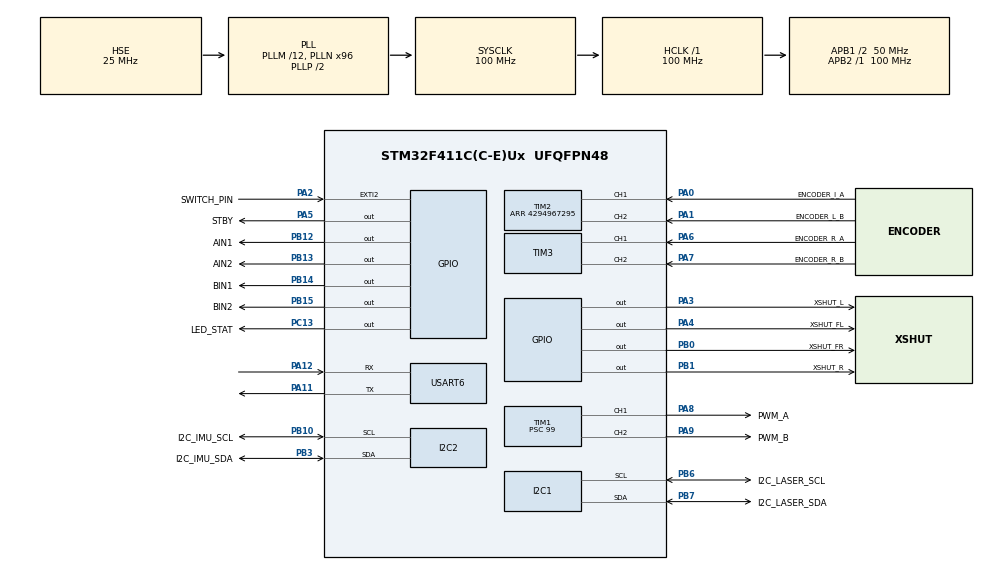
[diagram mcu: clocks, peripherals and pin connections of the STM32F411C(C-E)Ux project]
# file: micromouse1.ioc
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<<<<<<< HEAD
I2C2.I2C_Mode=I2C_Fast
Mcu.Family=STM32F4
Mcu.Name=STM32F411C(C-E)Ux
Mcu.Package=UFQFPN48
NVIC.PriorityGroup=NVIC_PRIORITYGROUP_4
PA0-WKUP.GPIO_Label=ENCODER_l_A
PA0-WKUP.Signal=S_TIM2_CH1_ETR
PA1.GPIO_Label=ENCODER_L_B
PA1.Signal=S_TIM2_CH2
PA11.Mode=Asynchronous
PA11.Signal=USART6_TX
PA12.Mode=Asynchronous
PA12.Signal=USART6_RX
PA13.Mode=Serial_Wire
PA13.Signal=SYS_JTMS-SWDIO
PA14.Mode=Serial_Wire
PA14.Signal=SYS_JTCK-SWCLK
PA2.GPIO_Label=SWITCH_PIN
PA2.Signal=GPXTI2
PA3.GPIO_Label=XSHUT_L
PA3.Signal=GPIO_Output
PA4.GPIO_Label=XSHUT_FL
PA4.Signal=GPIO_Output
PA5.GPIO_Label=STBY
PA5.Signal=GPIO_Output
PA6.GPIO_Label=ENCODER_R_A
PA6.Signal=S_TIM3_CH1
PA7.GPIO_Label=ENCODER_R_B
PA7.Signal=S_TIM3_CH2
PA8.GPIO_Label=PWM_A
PA8.Signal=S_TIM1_CH1
PA9.GPIO_Label=PWM_B
PA9.Signal=S_TIM1_CH2
PB0.GPIO_Label=XSHUT_FR
PB0.Signal=GPIO_Output
PB1.GPIO_Label=XSHUT_R
PB1.Signal=GPIO_Output
PB10.GPIO_Label=I2C_IMU_SCL
PB10.Mode=I2C
PB10.Signal=I2C2_SCL
PB12.GPIO_Label=AIN1
PB12.Signal=GPIO_Output
PB13.GPIO_Label=AIN2
PB13.Signal=GPIO_Output
PB14.GPIO_Label=BIN1
PB14.Signal=GPIO_Output
PB15.GPIO_Label=BIN2
PB15.Signal=GPIO_Output
PB3.GPIO_Label=I2C_IMU_SDA
PB3.Mode=I2C
PB3.Signal=I2C2_SDA
PB6.GPIO_Label=I2C_LASER_SCL
PB6.Mode=I2C
PB6.Signal=I2C1_SCL
PB7.GPIO_Label=I2C_LASER_SDA
PB7.Mode=I2C
PB7.Signal=I2C1_SDA
PC13-ANTI_TAMP.GPIO_Label=LED_STAT
PC13-ANTI_TAMP.Signal=GPIO_Output
PH0\ -\ OSC_IN.Mode=HSE-External-Oscillator
PH0\ -\ OSC_IN.Signal=RCC_OSC_IN
PH1\ -\ OSC_OUT.Mode=HSE-External-Oscillator
PH1\ -\ OSC_OUT.Signal=RCC_OSC_OUT
ProjectManager.HeapSize=0x200
ProjectManager.StackSize=0x400
ProjectManager.TargetToolchain=MDK-ARM V5.32
RCC.48MHZClocksFreq_Value=50000000
RCC.AHBFreq_Value=100000000
RCC.APB1CLKDivider=RCC_HCLK_DIV2
RCC.APB1Freq_Value=50000000
RCC.APB1TimFreq_Value=100000000
RCC.APB2Freq_Value=100000000
RCC.APB2TimFreq_Value=100000000
RCC.CortexFreq_Value=100000000
RCC.HCLKFreq_Value=100000000
RCC.HSE_VALUE=25000000
RCC.HSI_VALUE=16000000
RCC.LSE_VALUE=32768
RCC.PLLM=12
RCC.PLLN=96
RCC.PLLSourceVirtual=RCC_PLLSOURCE_HSE
RCC.SYSCLKFreq_VALUE=100000000
RCC.SYSCLKSource=RCC_SYSCLKSOURCE_PLLCLK
RCC.VCOOutputFreq_Value=200000000
SH.S_TIM1_CH1.0=TIM1_CH1,PWM Generation1 CH1
SH.S_TIM1_CH2.0=TIM1_CH2,PWM Generation2 CH2
SH.S_TIM2_CH1_ETR.0=TIM2_CH1,Encoder_Interface
SH.S_TIM2_CH2.0=TIM2_CH2,Encoder_Interface
SH.S_TIM3_CH1.0=TIM3_CH1,Encoder_Interface
SH.S_TIM3_CH2.0=TIM3_CH2,Encoder_Interface
TIM1.Channel-PWM\ Generation1\ CH1=TIM_CHANNEL_1
TIM1.Channel-PWM\ Generation2\ CH2=TIM_CHANNEL_2
TIM1.Period=999
TIM1.Prescaler=99
TIM2.EncoderMode=TIM_ENCODERMODE_TI12
TIM2.Period=4294967295
TIM3.EncoderMode=TIM_ENCODERMODE_TI12
TIM5.Prescaler=99
USART6.VirtualMode=VM_ASYNC
VP_TIM1_VS_ClockSourceINT.Mode=Internal
VP_TIM5_VS_ClockSourceINT.Mode=Internal
board=custom
=======
I2C2.I2C_Mode=I2C_Fast
Mcu.Family=STM32F4
Mcu.Name=STM32F411C(C-E)Ux
Mcu.Package=UFQFPN48
NVIC.PriorityGroup=NVIC_PRIORITYGROUP_4
PA0-WKUP.GPIO_Label=ENCODER_l_A
PA0-WKUP.Signal=S_TIM2_CH1_ETR
PA1.GPIO_Label=ENCODER_L_B
PA1.Signal=S_TIM2_CH2
PA11.Mode=Asynchronous
PA11.Signal=USART6_TX
PA12.Mode=Asynchronous
PA12.Signal=USART6_RX
PA13.Mode=Serial_Wire
PA13.Signal=SYS_JTMS-SWDIO
PA14.Mode=Serial_Wire
PA14.Signal=SYS_JTCK-SWCLK
PA2.GPIO_Label=SWITCH_PIN
PA2.Signal=GPXTI2
PA3.GPIO_Label=XSHUT_L
PA3.Signal=GPIO_Output
PA4.GPIO_Label=XSHUT_FL
PA4.Signal=GPIO_Output
PA5.GPIO_Label=STBY
PA5.Signal=GPIO_Output
PA6.GPIO_Label=ENCODER_R_A
PA6.Signal=S_TIM3_CH1
PA7.GPIO_Label=ENCODER_R_B
PA7.Signal=S_TIM3_CH2
PA8.GPIO_Label=PWM_A
PA8.Signal=S_TIM1_CH1
PA9.GPIO_Label=PWM_B
PA9.Signal=S_TIM1_CH2
PB0.GPIO_Label=XSHUT_FR
PB0.Signal=GPIO_Output
PB1.GPIO_Label=XSHUT_R
PB1.Signal=GPIO_Output
PB10.GPIO_Label=I2C_IMU_SCL
PB10.Mode=I2C
PB10.Signal=I2C2_SCL
PB12.GPIO_Label=AIN1
PB12.Signal=GPIO_Output
PB13.GPIO_Label=AIN2
PB13.Signal=GPIO_Output
PB14.GPIO_Label=BIN1
PB14.Signal=GPIO_Output
PB15.GPIO_Label=BIN2
PB15.Signal=GPIO_Output
PB3.GPIO_Label=I2C_IMU_SDA
PB3.Mode=I2C
PB3.Signal=I2C2_SDA
PB6.GPIO_Label=I2C_LASER_SCL
PB6.Mode=I2C
PB6.Signal=I2C1_SCL
PB7.GPIO_Label=I2C_LASER_SDA
PB7.Mode=I2C
PB7.Signal=I2C1_SDA
PC13-ANTI_TAMP.GPIO_Label=LED_STAT
PC13-ANTI_TAMP.Signal=GPIO_Output
PH0\ -\ OSC_IN.Mode=HSE-External-Oscillator
PH0\ -\ OSC_IN.Signal=RCC_OSC_IN
PH1\ -\ OSC_OUT.Mode=HSE-External-Oscillator
PH1\ -\ OSC_OUT.Signal=RCC_OSC_OUT
ProjectManager.HeapSize=0x200
ProjectManager.StackSize=0x400
ProjectManager.TargetToolchain=MDK-ARM V5.32
RCC.48MHZClocksFreq_Value=50000000
RCC.AHBFreq_Value=100000000
RCC.APB1CLKDivider=RCC_HCLK_DIV2
RCC.APB1Freq_Value=50000000
RCC.APB1TimFreq_Value=100000000
RCC.APB2Freq_Value=100000000
RCC.APB2TimFreq_Value=100000000
RCC.CortexFreq_Value=100000000
RCC.HCLKFreq_Value=100000000
RCC.HSE_VALUE=25000000
RCC.HSI_VALUE=16000000
RCC.LSE_VALUE=32768
RCC.PLLM=12
RCC.PLLN=96
RCC.PLLSourceVirtual=RCC_PLLSOURCE_HSE
RCC.SYSCLKFreq_VALUE=100000000
RCC.SYSCLKSource=RCC_SYSCLKSOURCE_PLLCLK
RCC.VCOOutputFreq_Value=200000000
SH.S_TIM1_CH1.0=TIM1_CH1,PWM Generation1 CH1
SH.S_TIM1_CH2.0=TIM1_CH2,PWM Generation2 CH2
SH.S_TIM2_CH1_ETR.0=TIM2_CH1,Encoder_Interface
SH.S_TIM2_CH2.0=TIM2_CH2,Encoder_Interface
SH.S_TIM3_CH1.0=TIM3_CH1,Encoder_Interface
SH.S_TIM3_CH2.0=TIM3_CH2,Encoder_Interface
TIM1.Channel-PWM\ Generation1\ CH1=TIM_CHANNEL_1
TIM1.Channel-PWM\ Generation2\ CH2=TIM_CHANNEL_2
TIM1.Period=999
TIM1.Prescaler=99
TIM2.EncoderMode=TIM_ENCODERMODE_TI12
TIM2.Period=4294967295
TIM3.EncoderMode=TIM_ENCODERMODE_TI12
TIM5.Prescaler=99
USART6.VirtualMode=VM_ASYNC
VP_TIM1_VS_ClockSourceINT.Mode=Internal
VP_TIM5_VS_ClockSourceINT.Mode=Internal
board=custom
>>>>>>> e69f297a8bac1bce66a014ab7c4647a4cd0e4806

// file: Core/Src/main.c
/* USER CODE BEGIN Header */
/**
  ******************************************************************************
  * @file           : main.c
  * @brief          : Main program body
  ******************************************************************************
  * @attention
  *
  * Copyright (c) 2026 STMicroelectronics.
  * All rights reserved.
  *
  * This software is licensed under terms that can be found in the LICENSE file
  * in the root directory of this software component.
  * If no LICENSE file comes with this software, it is provided AS-IS.
  *
  ******************************************************************************
  */
/* USER CODE END Header */
#include "main.h"

/* USER CODE BEGIN Includes */
#include "tb6612fng.h"
#include "encoder.h"
#include "bt_debug.h"
#include "vl53l0x.h"
#include "mpu6500.h"
#include "sensor_fusion.h"
#include "motion_controller.h"
#include "pid.h"
#include "flash.h"
#include "maze_solver.h"
#include <stdio.h>

/* USER CODE END Includes */

/* USER CODE BEGIN PTD */
typedef enum {
    SYS_STATE_IDLE,
    SYS_STATE_EXPLORE,
    SYS_STATE_FAST_RUN,
    SYS_STATE_FINISHED,
    SYS_STATE_ERROR
} SystemState;
/* USER CODE END PTD */

/* USER CODE BEGIN PD */
#define CONTROL_LOOP_PERIOD_MS 10 // Chu ki vong lap 10ms (100Hz)
#define DEBOUNCE_DELAY_MS      200 // Thoi gian chong doi nut nhan
/* USER CODE END PD */

I2C_HandleTypeDef hi2c1;
I2C_HandleTypeDef hi2c2;

TIM_HandleTypeDef htim1;
TIM_HandleTypeDef htim2;
TIM_HandleTypeDef htim3;
TIM_HandleTypeDef htim5;

UART_HandleTypeDef huart6;

/* USER CODE BEGIN PV */
static SystemState current_sys_state = SYS_STATE_IDLE;
static uint32_t last_tick = 0;
static uint32_t last_button_tick = 0;

//Them 2 bien luu du lieu cam bien cho Sensor Fusion
static VL53L0X_Data vl_sensor_data;
static MPU6500_Data mpu_sensor_data;

/* USER CODE END PV */

void SystemClock_Config(void);
static void MX_GPIO_Init(void);
static void MX_I2C1_Init(void);
static void MX_I2C2_Init(void);
static void MX_TIM1_Init(void);
static void MX_TIM2_Init(void);
static void MX_TIM3_Init(void);
static void MX_USART6_UART_Init(void);
static void MX_TIM5_Init(void);
/* USER CODE BEGIN PFP */
void Process_FSM(float dt);
uint8_t Is_Button_Pressed(void);
/* USER CODE END PFP */

int main(void)
{

  /* MCU Configuration--------------------------------------------------------*/

  /* Reset of all peripherals, Initializes the Flash interface and the Systick. */
  HAL_Init();

  /* Configure the system clock */
  SystemClock_Config();

  /* Initialize all configured peripherals */
  MX_GPIO_Init();
  MX_I2C1_Init();
  MX_I2C2_Init();
  MX_TIM1_Init();
  MX_TIM2_Init();
  MX_TIM3_Init();
  MX_USART6_UART_Init();
  MX_TIM5_Init();
  /* USER CODE BEGIN 2 */
	// kich hoat motor driver TB6612 (chuyen chan SSTBY tu RESET sang SET)
	HAL_GPIO_WritePin(STBY_GPIO_Port, STBY_Pin, GPIO_PIN_SET);
  // 1. Khoi tao cac module phan cung
	BT_Init_Rx(&huart6); // Khoi tao Bluetooth UART & bat ngat nhan du lieu
	Encoder_Init(&htim2, &htim3);
	TB6612_Init(&htim1);
	LOG_SYS("--- MICROMOUSE STARTUP ---\r\n");
	// 2. Khoi tao cam bien
	if (VL53L0X_Init_All(&hi2c1) != HAL_OK) {
      LOG_SYS("[ERROR] VL53L0X Init Failed!\r\n");
  } else {
      LOG_SYS("[OK] VL53L0X Initialized.\r\n");
  }

  if (MPU6500_Init(&hi2c2) != HAL_OK) {
      LOG_SYS("[ERROR] MPU6500 Init Failed!\r\n");
  } else {
      LOG_SYS("[OK] MPU6500 Initialized.\r\n");
  }
	//3. Khoi tao thuat toan & bo dieu khien
	SensorFusion_Init();
  Motion_Init();
  Maze_Init();

  LOG_SYS("System Ready. Press Switch to Start Exploration.\r\n");
  last_tick = HAL_GetTick();
  /* USER CODE END 2 */

  /* Infinite loop */
  /* USER CODE BEGIN WHILE */
  while (1)
  {
		uint32_t current_tick = HAL_GetTick();

		//Dinh thoi chu ky 10ms (100Hz) cho PID va Sensor Fusion
		if (current_tick - last_tick >= CONTROL_LOOP_PERIOD_MS) {
			float dt = (current_tick - last_tick) / 1000.0f;
        last_tick = current_tick;

			//1. Khai bao bien va doc khoang cach tu Encoder
			float dist_l = 0.0f;
			float dist_r = 0.0f;
			Encoder_GetDistanceMM(&dist_l, &dist_r);
			//2. Doc du lieu tu cam bien V53L0X va MPU6500
			VL53L0X_Read_All(&vl_sensor_data);
      MPU6500_Read_GyroZ(dt);

			//Copy du lieu Gyro moi nhat tu driver vao mpu_sensor_data
			MPU6500_Data *mpu_ptr = MPU6500_GetData();
      if (mpu_ptr != NULL) {
          mpu_sensor_data = *mpu_ptr;
      }

			// 3.cap nhat cam bien & bo dieu khien dong co
			SensorFusion_Update(&vl_sensor_data, &mpu_sensor_data, dist_l, dist_r, dt);
      Motion_Update(dt);

			// 4.Chay may trang thai he thong
			Process_FSM(dt);
		}
    /* USER CODE END WHILE */

  }
}

void SystemClock_Config(void)
{
  RCC_OscInitTypeDef RCC_OscInitStruct = {0};
  RCC_ClkInitTypeDef RCC_ClkInitStruct = {0};

  /** Configure the main internal regulator output voltage
  */
  __HAL_RCC_PWR_CLK_ENABLE();
  __HAL_PWR_VOLTAGESCALING_CONFIG(PWR_REGULATOR_VOLTAGE_SCALE1);

  /** Initializes the RCC Oscillators according to the specified parameters
  * in the RCC_OscInitTypeDef structure.
  */
  RCC_OscInitStruct.OscillatorType = RCC_OSCILLATORTYPE_HSE;
  RCC_OscInitStruct.HSEState = RCC_HSE_ON;
  RCC_OscInitStruct.PLL.PLLState = RCC_PLL_ON;
  RCC_OscInitStruct.PLL.PLLSource = RCC_PLLSOURCE_HSE;
  RCC_OscInitStruct.PLL.PLLM = 12;
  RCC_OscInitStruct.PLL.PLLN = 96;
  RCC_OscInitStruct.PLL.PLLP = RCC_PLLP_DIV2;
  RCC_OscInitStruct.PLL.PLLQ = 4;
  if (HAL_RCC_OscConfig(&RCC_OscInitStruct) != HAL_OK)
  {
    Error_Handler();
  }

  /** Initializes the CPU, AHB and APB buses clocks
  */
  RCC_ClkInitStruct.ClockType = RCC_CLOCKTYPE_HCLK|RCC_CLOCKTYPE_SYSCLK
                              |RCC_CLOCKTYPE_PCLK1|RCC_CLOCKTYPE_PCLK2;
  RCC_ClkInitStruct.SYSCLKSource = RCC_SYSCLKSOURCE_PLLCLK;
  RCC_ClkInitStruct.AHBCLKDivider = RCC_SYSCLK_DIV1;
  RCC_ClkInitStruct.APB1CLKDivider = RCC_HCLK_DIV2;
  RCC_ClkInitStruct.APB2CLKDivider = RCC_HCLK_DIV1;

  if (HAL_RCC_ClockConfig(&RCC_ClkInitStruct, FLASH_LATENCY_3) != HAL_OK)
  {
    Error_Handler();
  }
}

static void MX_I2C1_Init(void)
{

  hi2c1.Instance = I2C1;
  hi2c1.Init.ClockSpeed = 400000;
  hi2c1.Init.DutyCycle = I2C_DUTYCYCLE_2;
  hi2c1.Init.OwnAddress1 = 0;
  hi2c1.Init.AddressingMode = I2C_ADDRESSINGMODE_7BIT;
  hi2c1.Init.DualAddressMode = I2C_DUALADDRESS_DISABLE;
  hi2c1.Init.OwnAddress2 = 0;
  hi2c1.Init.GeneralCallMode = I2C_GENERALCALL_DISABLE;
  hi2c1.Init.NoStretchMode = I2C_NOSTRETCH_DISABLE;
  if (HAL_I2C_Init(&hi2c1) != HAL_OK)
  {
    Error_Handler();
  }

}

static void MX_I2C2_Init(void)
{

  hi2c2.Instance = I2C2;
  hi2c2.Init.ClockSpeed = 400000;
  hi2c2.Init.DutyCycle = I2C_DUTYCYCLE_2;
  hi2c2.Init.OwnAddress1 = 0;
  hi2c2.Init.AddressingMode = I2C_ADDRESSINGMODE_7BIT;
  hi2c2.Init.DualAddressMode = I2C_DUALADDRESS_DISABLE;
  hi2c2.Init.OwnAddress2 = 0;
  hi2c2.Init.GeneralCallMode = I2C_GENERALCALL_DISABLE;
  hi2c2.Init.NoStretchMode = I2C_NOSTRETCH_DISABLE;
  if (HAL_I2C_Init(&hi2c2) != HAL_OK)
  {
    Error_Handler();
  }

}

static void MX_TIM1_Init(void)
{

  TIM_ClockConfigTypeDef sClockSourceConfig = {0};
  TIM_MasterConfigTypeDef sMasterConfig = {0};
  TIM_OC_InitTypeDef sConfigOC = {0};
  TIM_BreakDeadTimeConfigTypeDef sBreakDeadTimeConfig = {0};

  htim1.Instance = TIM1;
  htim1.Init.Prescaler = 99;
  htim1.Init.CounterMode = TIM_COUNTERMODE_UP;
  htim1.Init.Period = 999;
  htim1.Init.ClockDivision = TIM_CLOCKDIVISION_DIV1;
  htim1.Init.RepetitionCounter = 0;
  htim1.Init.AutoReloadPreload = TIM_AUTORELOAD_PRELOAD_DISABLE;
  if (HAL_TIM_Base_Init(&htim1) != HAL_OK)
  {
    Error_Handler();
  }
  sClockSourceConfig.ClockSource = TIM_CLOCKSOURCE_INTERNAL;
  if (HAL_TIM_ConfigClockSource(&htim1, &sClockSourceConfig) != HAL_OK)
  {
    Error_Handler();
  }
  if (HAL_TIM_PWM_Init(&htim1) != HAL_OK)
  {
    Error_Handler();
  }
  sMasterConfig.MasterOutputTrigger = TIM_TRGO_RESET;
  sMasterConfig.MasterSlaveMode = TIM_MASTERSLAVEMODE_DISABLE;
  if (HAL_TIMEx_MasterConfigSynchronization(&htim1, &sMasterConfig) != HAL_OK)
  {
    Error_Handler();
  }
  sConfigOC.OCMode = TIM_OCMODE_PWM1;
  sConfigOC.Pulse = 0;
  sConfigOC.OCPolarity = TIM_OCPOLARITY_HIGH;
  sConfigOC.OCNPolarity = TIM_OCNPOLARITY_HIGH;
  sConfigOC.OCFastMode = TIM_OCFAST_DISABLE;
  sConfigOC.OCIdleState = TIM_OCIDLESTATE_RESET;
  sConfigOC.OCNIdleState = TIM_OCNIDLESTATE_RESET;
  if (HAL_TIM_PWM_ConfigChannel(&htim1, &sConfigOC, TIM_CHANNEL_1) != HAL_OK)
  {
    Error_Handler();
  }
  if (HAL_TIM_PWM_ConfigChannel(&htim1, &sConfigOC, TIM_CHANNEL_2) != HAL_OK)
  {
    Error_Handler();
  }
  sBreakDeadTimeConfig.OffStateRunMode = TIM_OSSR_DISABLE;
  sBreakDeadTimeConfig.OffStateIDLEMode = TIM_OSSI_DISABLE;
  sBreakDeadTimeConfig.LockLevel = TIM_LOCKLEVEL_OFF;
  sBreakDeadTimeConfig.DeadTime = 0;
  sBreakDeadTimeConfig.BreakState = TIM_BREAK_DISABLE;
  sBreakDeadTimeConfig.BreakPolarity = TIM_BREAKPOLARITY_HIGH;
  sBreakDeadTimeConfig.AutomaticOutput = TIM_AUTOMATICOUTPUT_DISABLE;
  if (HAL_TIMEx_ConfigBreakDeadTime(&htim1, &sBreakDeadTimeConfig) != HAL_OK)
  {
    Error_Handler();
  }
  HAL_TIM_MspPostInit(&htim1);

}

static void MX_TIM2_Init(void)
{

  TIM_Encoder_InitTypeDef sConfig = {0};
  TIM_MasterConfigTypeDef sMasterConfig = {0};

  htim2.Instance = TIM2;
  htim2.Init.Prescaler = 0;
  htim2.Init.CounterMode = TIM_COUNTERMODE_UP;
  htim2.Init.Period = 4294967295;
  htim2.Init.ClockDivision = TIM_CLOCKDIVISION_DIV1;
  htim2.Init.AutoReloadPreload = TIM_AUTORELOAD_PRELOAD_DISABLE;
  sConfig.EncoderMode = TIM_ENCODERMODE_TI12;
  sConfig.IC1Polarity = TIM_ICPOLARITY_RISING;
  sConfig.IC1Selection = TIM_ICSELECTION_DIRECTTI;
  sConfig.IC1Prescaler = TIM_ICPSC_DIV1;
  sConfig.IC1Filter = 0;
  sConfig.IC2Polarity = TIM_ICPOLARITY_RISING;
  sConfig.IC2Selection = TIM_ICSELECTION_DIRECTTI;
  sConfig.IC2Prescaler = TIM_ICPSC_DIV1;
  sConfig.IC2Filter = 0;
  if (HAL_TIM_Encoder_Init(&htim2, &sConfig) != HAL_OK)
  {
    Error_Handler();
  }
  sMasterConfig.MasterOutputTrigger = TIM_TRGO_RESET;
  sMasterConfig.MasterSlaveMode = TIM_MASTERSLAVEMODE_DISABLE;
  if (HAL_TIMEx_MasterConfigSynchronization(&htim2, &sMasterConfig) != HAL_OK)
  {
    Error_Handler();
  }

}

static void MX_TIM3_Init(void)
{

  TIM_Encoder_InitTypeDef sConfig = {0};
  TIM_MasterConfigTypeDef sMasterConfig = {0};

  htim3.Instance = TIM3;
  htim3.Init.Prescaler = 0;
  htim3.Init.CounterMode = TIM_COUNTERMODE_UP;
  htim3.Init.Period = 65535;
  htim3.Init.ClockDivision = TIM_CLOCKDIVISION_DIV1;
  htim3.Init.AutoReloadPreload = TIM_AUTORELOAD_PRELOAD_DISABLE;
  sConfig.EncoderMode = TIM_ENCODERMODE_TI12;
  sConfig.IC1Polarity = TIM_ICPOLARITY_RISING;
  sConfig.IC1Selection = TIM_ICSELECTION_DIRECTTI;
  sConfig.IC1Prescaler = TIM_ICPSC_DIV1;
  sConfig.IC1Filter = 0;
  sConfig.IC2Polarity = TIM_ICPOLARITY_RISING;
  sConfig.IC2Selection = TIM_ICSELECTION_DIRECTTI;
  sConfig.IC2Prescaler = TIM_ICPSC_DIV1;
  sConfig.IC2Filter = 0;
  if (HAL_TIM_Encoder_Init(&htim3, &sConfig) != HAL_OK)
  {
    Error_Handler();
  }
  sMasterConfig.MasterOutputTrigger = TIM_TRGO_RESET;
  sMasterConfig.MasterSlaveMode = TIM_MASTERSLAVEMODE_DISABLE;
  if (HAL_TIMEx_MasterConfigSynchronization(&htim3, &sMasterConfig) != HAL_OK)
  {
    Error_Handler();
  }

}

static void MX_TIM5_Init(void)
{

  TIM_ClockConfigTypeDef sClockSourceConfig = {0};
  TIM_MasterConfigTypeDef sMasterConfig = {0};

  htim5.Instance = TIM5;
  htim5.Init.Prescaler = 99;
  htim5.Init.CounterMode = TIM_COUNTERMODE_UP;
  htim5.Init.Period = 4294967295;
  htim5.Init.ClockDivision = TIM_CLOCKDIVISION_DIV1;
  htim5.Init.AutoReloadPreload = TIM_AUTORELOAD_PRELOAD_DISABLE;
  if (HAL_TIM_Base_Init(&htim5) != HAL_OK)
  {
    Error_Handler();
  }
  sClockSourceConfig.ClockSource = TIM_CLOCKSOURCE_INTERNAL;
  if (HAL_TIM_ConfigClockSource(&htim5, &sClockSourceConfig) != HAL_OK)
  {
    Error_Handler();
  }
  sMasterConfig.MasterOutputTrigger = TIM_TRGO_RESET;
  sMasterConfig.MasterSlaveMode = TIM_MASTERSLAVEMODE_DISABLE;
  if (HAL_TIMEx_MasterConfigSynchronization(&htim5, &sMasterConfig) != HAL_OK)
  {
    Error_Handler();
  }

}

static void MX_USART6_UART_Init(void)
{

  huart6.Instance = USART6;
  huart6.Init.BaudRate = 115200;
  huart6.Init.WordLength = UART_WORDLENGTH_8B;
  huart6.Init.StopBits = UART_STOPBITS_1;
  huart6.Init.Parity = UART_PARITY_NONE;
  huart6.Init.Mode = UART_MODE_TX_RX;
  huart6.Init.HwFlowCtl = UART_HWCONTROL_NONE;
  huart6.Init.OverSampling = UART_OVERSAMPLING_16;
  if (HAL_UART_Init(&huart6) != HAL_OK)
  {
    Error_Handler();
  }

}

static void MX_GPIO_Init(void)
{
  GPIO_InitTypeDef GPIO_InitStruct = {0};

  /* GPIO Ports Clock Enable */
  __HAL_RCC_GPIOC_CLK_ENABLE();
  __HAL_RCC_GPIOH_CLK_ENABLE();
  __HAL_RCC_GPIOA_CLK_ENABLE();
  __HAL_RCC_GPIOB_CLK_ENABLE();

  /*Configure GPIO pin Output Level */
  HAL_GPIO_WritePin(LED_STAT_GPIO_Port, LED_STAT_Pin, GPIO_PIN_RESET);

  /*Configure GPIO pin Output Level */
  HAL_GPIO_WritePin(GPIOA, XSHUT_L_Pin|XSHUT_FL_Pin|STBY_Pin, GPIO_PIN_RESET);

  /*Configure GPIO pin Output Level */
  HAL_GPIO_WritePin(GPIOB, XSHUT_FR_Pin|XSHUT_R_Pin|AIN1_Pin|AIN2_Pin
                          |BIN1_Pin|BIN2_Pin, GPIO_PIN_RESET);

  /*Configure GPIO pin : LED_STAT_Pin */
  GPIO_InitStruct.Pin = LED_STAT_Pin;
  GPIO_InitStruct.Mode = GPIO_MODE_OUTPUT_PP;
  GPIO_InitStruct.Pull = GPIO_NOPULL;
  GPIO_InitStruct.Speed = GPIO_SPEED_FREQ_LOW;
  HAL_GPIO_Init(LED_STAT_GPIO_Port, &GPIO_InitStruct);

  /*Configure GPIO pin : SWITCH_PIN_Pin */
  GPIO_InitStruct.Pin = SWITCH_PIN_Pin;
  GPIO_InitStruct.Mode = GPIO_MODE_INPUT;
  GPIO_InitStruct.Pull = GPIO_PULLUP;
  HAL_GPIO_Init(SWITCH_PIN_GPIO_Port, &GPIO_InitStruct);

  /*Configure GPIO pins : XSHUT_L_Pin XSHUT_FL_Pin STBY_Pin */
  GPIO_InitStruct.Pin = XSHUT_L_Pin|XSHUT_FL_Pin|STBY_Pin;
  GPIO_InitStruct.Mode = GPIO_MODE_OUTPUT_PP;
  GPIO_InitStruct.Pull = GPIO_NOPULL;
  GPIO_InitStruct.Speed = GPIO_SPEED_FREQ_LOW;
  HAL_GPIO_Init(GPIOA, &GPIO_InitStruct);

  /*Configure GPIO pins : XSHUT_FR_Pin XSHUT_R_Pin AIN1_Pin AIN2_Pin
                           BIN1_Pin BIN2_Pin */
  GPIO_InitStruct.Pin = XSHUT_FR_Pin|XSHUT_R_Pin|AIN1_Pin|AIN2_Pin
                          |BIN1_Pin|BIN2_Pin;
  GPIO_InitStruct.Mode = GPIO_MODE_OUTPUT_PP;
  GPIO_InitStruct.Pull = GPIO_NOPULL;
  GPIO_InitStruct.Speed = GPIO_SPEED_FREQ_LOW;
  HAL_GPIO_Init(GPIOB, &GPIO_InitStruct);

}

/* USER CODE BEGIN 4 */
/**
* @brief Kiem tra nut nhan chong doi va bat canh xuong (One-shot / Press Event)
*/
uint8_t Is_Button_Pressed(void) {
    static uint8_t btn_last_state = 1; // 1: Nha nut (GPIO_PIN_SET), 0: Nhan nut (GPIO_PIN_RESET)
    uint8_t current_state = HAL_GPIO_ReadPin(SWITCH_PIN_GPIO_Port, SWITCH_PIN_Pin);
		uint32_t now = HAL_GetTick();

    // Phat hien thoi diem bat dau nhan nut (chi kich hoat khi truoc do nut dang nha)
    if (current_state == GPIO_PIN_RESET && btn_last_state == 1) {
        if (HAL_GetTick() - last_button_tick > DEBOUNCE_DELAY_MS) {
            last_button_tick = now;
            btn_last_state = 0; // Danh dau nat dang duoc giu
            return 1;           // Chi tra ve 1 dung mot lan duy nhat cho moi lan nhan
        }
    }
    // Khi nguoi dung nha nut ra hoan toan
    else if (current_state == GPIO_PIN_SET && btn_last_state == 0) {
        if (now - last_button_tick > DEBOUNCE_DELAY_MS) {
				btn_last_state = 1;     // Ðat lai trang thai cho cho lan nhan tiep theo
    }
	}
    return 0;
}
void Process_FSM(float dt) {
    static Action next_action = ACTION_STOP;

    switch (current_sys_state) {
        case SYS_STATE_IDLE:
            if (Is_Button_Pressed()) {
                LOG_SYS("Starting Exploration Run...\r\n");
                Maze_Init(); // Reset ban do và vi tri robot ve (0,0)
								SensorFusion_ResetAngle();
								next_action = ACTION_STOP;
                current_sys_state = SYS_STATE_EXPLORE;
            }
            break;

        case SYS_STATE_EXPLORE:
            if (Motion_IsFinished()) {
                // Buoc 1: Cap nhat toa do ao tuong ung voi buoc vua chay xong
                Maze_UpdatePosition(next_action);

                // Buoc 2: Kiem tra da den dich chua
                if (Maze_IsGoalReached()) {
                    LOG_SYS("Goal Reached! Saving Map to Flash...\r\n");
                    Motion_Stop();
                    Maze_SaveToFlash();
                    HAL_GPIO_WritePin(LED_STAT_GPIO_Port, LED_STAT_Pin, GPIO_PIN_SET);
                    current_sys_state = SYS_STATE_FINISHED;
                    break;
                }

                // Buoc 3: Ðoc tuong tai toa do MOI và tinh toan Floodfill
                SensorFusion_Data *sf = SensorFusion_GetData();
                Maze_UpdateWalls(sf);
                Maze_ComputeFloodfill();

                // Buoc 4: Lay hanh dong tiep theo dua trên bang Floodfill moi
                next_action = Maze_GetNextAction();

                // Buoc 5: Thuc thi chuyen dong
                switch (next_action) {
                    case ACTION_FORWARD:
                        Motion_MoveForward(180.0f);
                        break;
                    case ACTION_TURN_LEFT:
                        Motion_Rotate(90.0f);
                        break;
                    case ACTION_TURN_RIGHT:
                        Motion_Rotate(-90.0f);
                        break;
                    case ACTION_TURN_AROUND:
                        Motion_Rotate(180.0f);
                        break;
                    default:
                        Motion_Stop();
                        current_sys_state = SYS_STATE_FINISHED;
                        break;
                }
            }
            break;

        case SYS_STATE_FAST_RUN:
            if (Motion_IsFinished()) {
                // Cap nhat vi tri tu hanh dong vua xong
                Maze_UpdatePosition(next_action);

                if (Maze_IsGoalReached()) {
                    Motion_Stop();
                    LOG_SYS("Fast Run Completed Successfully!\r\n");
                    current_sys_state = SYS_STATE_FINISHED;
                    break;
                }

                // Chay Fast Run chi tinh duong ngan nhat (không can quét tuong lai)
                next_action = Maze_GetNextAction();

                switch (next_action) {
                    case ACTION_FORWARD:
                        Motion_MoveForward(180.0f);
                        break;
                    case ACTION_TURN_LEFT:
                        Motion_Rotate(90.0f);
                        break;
                    case ACTION_TURN_RIGHT:
                        Motion_Rotate(-90.0f);
                        break;
                    case ACTION_TURN_AROUND:
                        Motion_Rotate(180.0f);
                        break;
                    default:
                        Motion_Stop();
                        current_sys_state = SYS_STATE_ERROR;
                        break;
                }
            }
            break;

        case SYS_STATE_FINISHED:
            if (Is_Button_Pressed()) {
                LOG_SYS("Loading Map from Flash & Starting Fast Run...\r\n");
                // Reset vi tri xe ve (0,0) truoc, sau dó load ma tran tuong tu Flash
                Maze_Init();
                Maze_LoadFromFlash();
                Maze_ComputeFloodfill(); // Tinh duong toi uu
                SensorFusion_ResetAngle(); // Reset goc moc ve 0 khi bat dau Fast Run
                next_action = ACTION_STOP;
                current_sys_state = SYS_STATE_FAST_RUN;
            }
            break;

        case SYS_STATE_ERROR:
        default:
            Motion_Stop();
            break;
    }
}
/* USER CODE END 4 */

void Error_Handler(void)
{
  __disable_irq();
  while (1)
  {
  }
}
